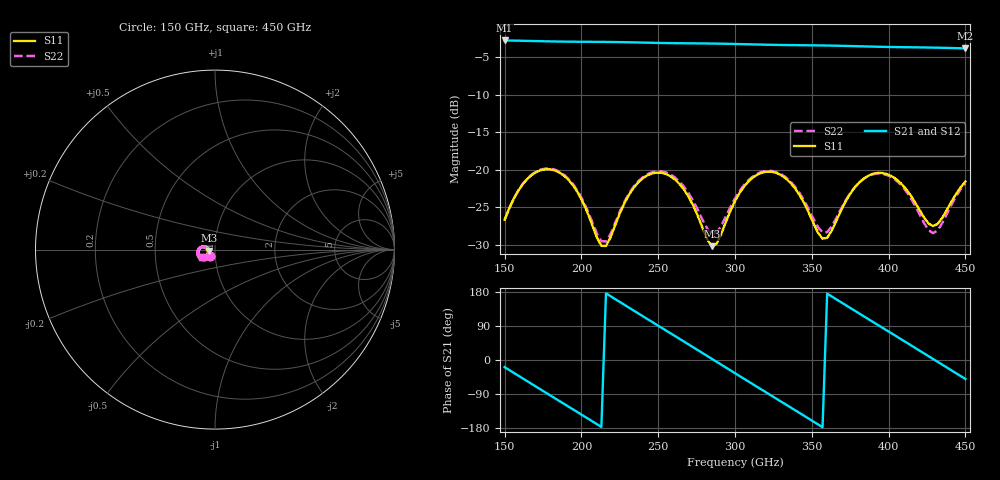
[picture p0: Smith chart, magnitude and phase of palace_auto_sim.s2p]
#  GHZ S DB R 50
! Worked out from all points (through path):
!   101 points, 150 GHz to 450 GHz, reference 50 ohm
!   highest |S21| = -2.80 dB at 150 GHz (marker M1); lowest = -3.9 dB at 450 GHz (marker M2)
!   group delay of S21, straight-line fit = 6.95 ps
!   lowest |S11| = -30.1 dB at 285 GHz (marker M3), VSWR 1.06, Z = 47 - j0.48 ohm
!   |S11| at or under -10 dB: start of sweep to end of sweep
!   |S22| runs from -29.5 to -19.8 dB; largest |S21 - S12| = 7.9e-14
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150  -26.62 -129.2  -2.80 -18.9  -2.80 -18.9  -26.67 -127.1
165  -21.16 -139.5  -2.86 -56.6  -2.86 -56.6  -21.10 -137.8
177  -19.91 -160.3  -2.91 -86.6  -2.91 -86.6  -19.82 -158.5
189  -20.83 178.6  -2.95 -116.5  -2.95 -116.5  -20.70 -179.4
201  -24.31 163.9  -2.97 -146.5  -2.97 -146.5  -24.07 166.5
216  -30.11 -157.4  -2.99 175.8  -2.99 175.8  -29.51 -157.3
237  -21.67 -144.9  -3.07 123.0  -3.07 123.0  -21.52 -144.1
252  -20.39 -169.8  -3.13 85.5  -3.13 85.5  -20.21 -167.9
270  -23.65 164.3  -3.18 40.6  -3.18 40.6  -23.17 168.1
285  -30.14 -170.6  -3.21 2.9  -3.21 2.9  -28.51 -171.1
300  -24.15 -136.6  -3.27 -34.8  -3.27 -34.8  -23.80 -141.4
312  -20.96 -150.9  -3.32 -64.9  -3.32 -64.9  -20.82 -153.7
324  -20.26 -170.6  -3.38 -94.8  -3.38 -94.8  -20.14 -172.2
336  -21.70 171.1  -3.42 -124.7  -3.42 -124.7  -21.52 170.4
351  -27.06 167.3  -3.45 -162.3  -3.45 -162.3  -26.48 167.2
360  -29.03 -160.6  -3.47 175.1  -3.47 175.1  -28.28 -164.8
381  -21.65 -148.7  -3.57 122.5  -3.57 122.5  -21.65 -153.0
393  -20.40 -166.0  -3.63 92.5  -3.63 92.5  -20.49 -169.9
402  -20.84 -179.2  -3.67 70.1  -3.67 70.1  -20.98 176.8
417  -24.23 168.6  -3.71 32.7  -3.71 32.7  -24.67 163.9
429  -27.47 -169.2  -3.75 2.6  -3.75 2.6  -28.42 -170.7
450  -21.55 -149.9  -3.85 -50.0  -3.85 -50.0  -21.78 -149.8
